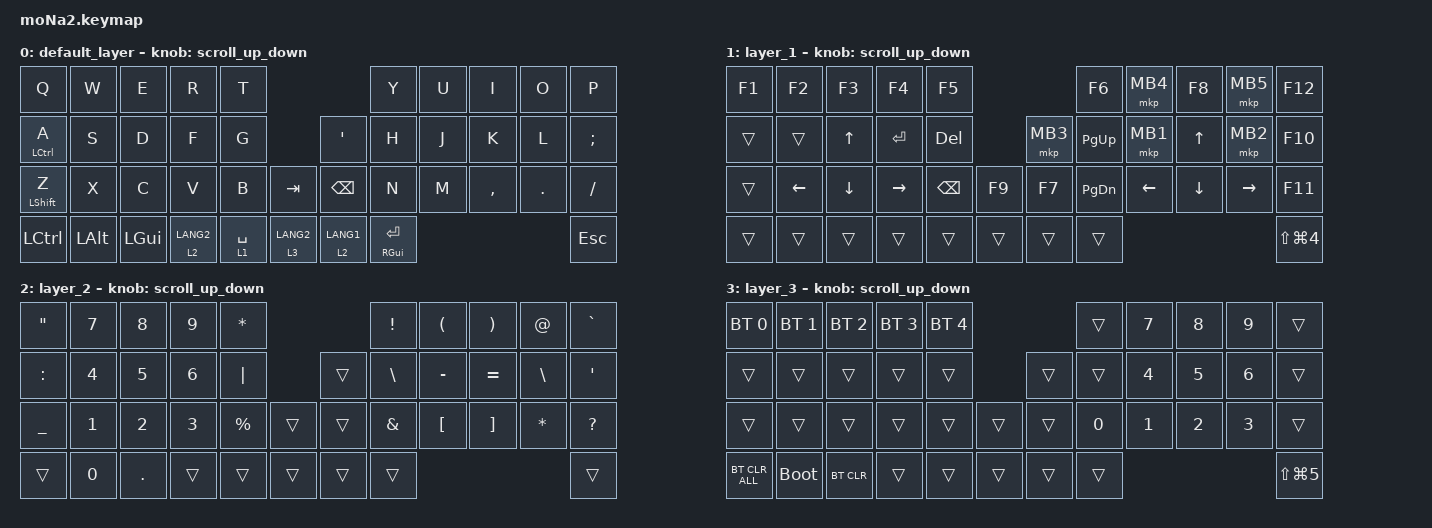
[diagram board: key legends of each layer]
#include <behaviors.dtsi>
#include <dt-bindings/zmk/bt.h>
#include <dt-bindings/zmk/keys.h>

#define ZMK_POINTING_DEFAULT_SCRL_VAL 100
#include <dt-bindings/zmk/pointing.h>

// Keyball44 のレイヤ構成を移植
// 0: BASE / 1: Space ホールド (F・矢印・マウス) / 2: 英数・かなホールド (数字・記号)
// 3: 右端の左親指(英数)ホールド (数字・BT・システム、ボールはスクロール = moNa2_R.overlay の scroll-layers)

&mt {
    flavor = "balanced";
    quick-tap-ms = <0>;
};

/ {
    combos { compatible = "zmk,combos"; };

    behaviors {
        // A の長押し Ctrl 専用。ローマ字入力で A から次のキーへ速く移ったときに Ctrl へ化けないようにする
        // - require-prior-idle-ms: 直前のキーから 150ms 以内に押した A は必ずタップ
        // - tap-preferred: 200ms 押し続けたときだけ Ctrl（途中で別キーを押しても Ctrl にしない）
        hm_ctrl: hm_ctrl {
            compatible = "zmk,behavior-hold-tap";
            #binding-cells = <2>;
            flavor = "tap-preferred";
            tapping-term-ms = <200>;
            require-prior-idle-ms = <150>;
            bindings = <&kp>, <&kp>;
        };

        scroll_up_down: behavior_sensor_rotate_mouse_wheel_up_down {
            compatible = "zmk,behavior-sensor-rotate";
            #sensor-binding-cells = <0>;
            bindings = <&msc SCRL_UP>, <&msc SCRL_DOWN>;
            tap-ms = <20>;
        };
    };

    keymap {
        compatible = "zmk,keymap";

        default_layer {
            bindings = <
&kp Q             &kp W     &kp E      &kp R        &kp T                                           &kp Y        &kp U  &kp I      &kp O    &kp P
&hm_ctrl LCTRL A  &kp S     &kp D      &kp F        &kp G                            &kp SQT        &kp H        &kp J  &kp K      &kp L    &kp SEMI
&mt LSHIFT Z      &kp X     &kp C      &kp V        &kp B        &kp TAB             &kp BSPC       &kp N        &kp M  &kp COMMA  &kp DOT  &kp SLASH
&kp LCTRL         &kp LALT  &kp LGUI   &lt 2 LANG2  &lt 1 SPACE  &lt 3 LANG2         &lt 2 LANG1    &mt RGUI ENTER                          &kp ESC
            >;
            sensor-bindings = <&scroll_up_down>;
        };

        layer_1 {
            bindings = <
&kp F1  &kp F2    &kp F3    &kp F4     &kp F5                             &kp F6     &mkp MB4   &kp F8     &mkp MB5    &kp F12
&trans  &trans    &kp UP    &kp ENTER  &kp DEL               &mkp MB3     &kp PG_UP  &mkp MB1   &kp UP     &mkp MB2    &kp F10
&trans  &kp LEFT  &kp DOWN  &kp RIGHT  &kp BSPC  &kp F9      &kp F7       &kp PG_DN  &kp LEFT   &kp DOWN   &kp RIGHT   &kp F11
&trans  &trans    &trans    &trans     &trans    &trans      &trans       &trans                                         &kp LS(LG(N4))
            >;
            sensor-bindings = <&scroll_up_down>;
        };

        layer_2 {
            bindings = <
&kp DQT    &kp N7  &kp N8  &kp N9  &kp STAR                            &kp EXCL  &kp LPAR  &kp RPAR  &kp AT    &kp GRAVE
&kp COLON  &kp N4  &kp N5  &kp N6  &kp PIPE             &trans         &kp BSLH  &kp MINUS &kp EQUAL &kp BSLH  &kp SQT
&kp UNDER  &kp N1  &kp N2  &kp N3  &kp PRCNT  &trans    &trans         &kp AMPS  &kp LBKT  &kp RBKT  &kp STAR  &kp QMARK
&trans     &kp N0  &kp DOT &trans  &trans     &trans    &trans         &trans                                  &trans
            >;
            sensor-bindings = <&scroll_up_down>;
        };

        layer_3 {
            bindings = <
&bt BT_SEL 0      &bt BT_SEL 1  &bt BT_SEL 2  &bt BT_SEL 3  &bt BT_SEL 4                       &trans  &kp N7  &kp N8  &kp N9  &trans
&trans            &trans        &trans        &trans        &trans                  &trans     &trans  &kp N4  &kp N5  &kp N6  &trans
&trans            &trans        &trans        &trans        &trans        &trans    &trans     &kp N0  &kp N1  &kp N2  &kp N3  &trans
&bt BT_CLR_ALL    &bootloader   &bt BT_CLR    &trans        &trans        &trans    &trans     &trans                          &kp LS(LG(N5))
            >;
            sensor-bindings = <&scroll_up_down>;
        };
    };
};
